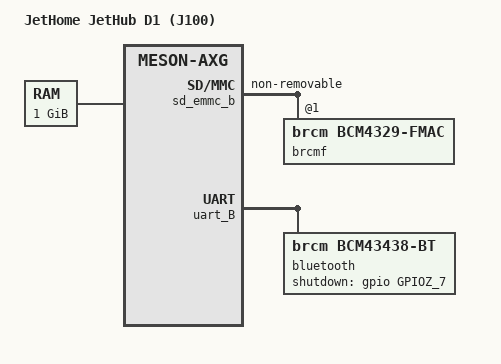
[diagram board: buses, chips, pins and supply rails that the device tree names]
/dts-v1/;
#include "meson-axg-jethome-jethub-j1xx.dtsi"
/ {
	compatible = "jethome,jethub-j100", "amlogic,a113d", "amlogic,meson-axg";
	model = "JetHome JetHub D1 (J100)";
	memory@0 {
		device_type = "memory";
		reg = <0x0 0x0 0x0 0x40000000>;
	};
};
&sd_emmc_b {
	non-removable;
	brcmf: wifi@1 {
		reg = <1>;
		compatible = "brcm,bcm4329-fmac";
	};
};
&uart_B {
	bluetooth {
		compatible = "brcm,bcm43438-bt";
		shutdown-gpios = <&gpio GPIOZ_7 GPIO_ACTIVE_HIGH>;
	};
};
